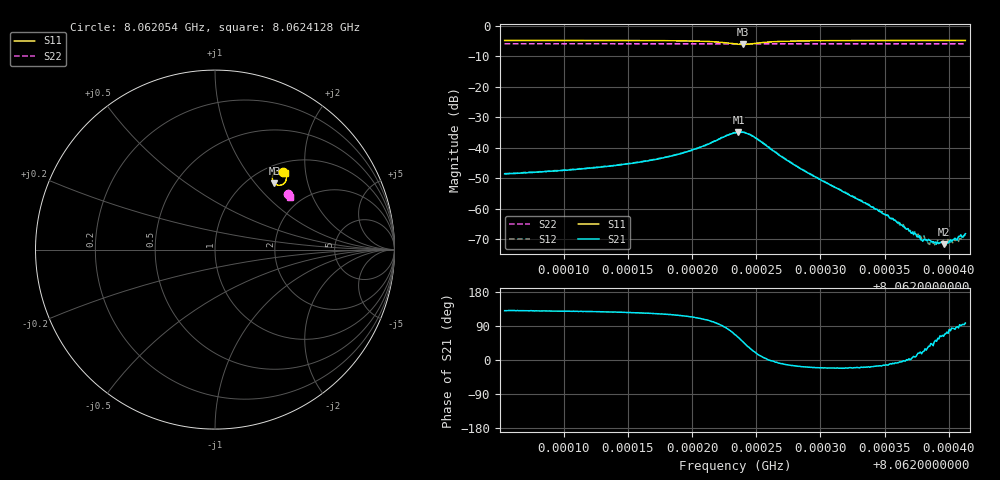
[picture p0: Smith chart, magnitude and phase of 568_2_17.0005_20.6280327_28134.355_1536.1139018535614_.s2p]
#  HZ  S  RI  R  50.00
! Rohde & Schwarz Vector Network Analyzer
! Rohde-Schwarz,ZNB20-2Port,1311601062101988,3.16
! Created: UTC 3/20/2024, 11:17:36 PM
! freq[Hz]  re:S11  im:S11  re:S21  im:S21  re:S12  im:S12  re:S22  im:S22
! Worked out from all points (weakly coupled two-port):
!   401 points, 8.062054 GHz to 8.0624128 GHz, reference 50 ohm
!   highest |S21| = -34.85 dB at 8.0622361 GHz (marker M1); lowest = -71.5 dB at 8.0623958 GHz (marker M2)
!   lowest |S11| = -6.1 dB at 8.0622397 GHz (marker M3), VSWR 2.97, Z = 64.6 + j63.3 ohm
!   |S11| at or under -10 dB: nowhere
!   |S22| runs from -5.9 to -5.9 dB; largest |S21 - S12| = 0.0012
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8.06205404e9  0.3806 0.4323  -0.00243 0.00286  -0.00229 0.00303  0.4046 0.3083
8.06211414e9  0.3862 0.4265  -0.00282 0.00355  -0.0026 0.00376  0.4067 0.3052
8.06215271e9  0.3908 0.4205  -0.00318 0.00454  -0.00295 0.00477  0.4082 0.3031
8.06217423e9  0.3938 0.4147  -0.00352 0.00565  -0.0032 0.00591  0.4089 0.3017
8.06220025e9  0.3975 0.4009  -0.00373 0.00858  -0.00314 0.00872  0.4098 0.2997
8.06222088e9  0.3902 0.3744  -0.00115 0.0139  -0.000341 0.014  0.4098 0.2979
8.06223343e9  0.3564 0.3583  0.00685 0.0162  0.00774 0.0161  0.4084 0.297
8.06223612e9  0.345 0.3606  0.00929 0.0155  0.0102 0.0151  0.408 0.297
8.06223971e9  0.3314 0.369  0.0121 0.0133  0.013 0.0127  0.4078 0.2975
8.06224779e9  0.3192 0.3997  0.0141 0.00605  0.0145 0.00531  0.4078 0.2987
8.062272e9  0.35 0.4359  0.00653 -0.00132  0.00651 -0.00172  0.4106 0.2986
8.06229353e9  0.3657 0.4363  0.00338 -0.00119  0.0033 -0.0014  0.4119 0.2974
8.06235363e9  0.3814 0.4301  0.000704 -0.000136  0.000732 -0.000238  0.4145 0.2941
8.06237785e9  0.3845 0.4281  0.000293 0.000113  0.000346 9.99e-05  0.4155 0.2928
8.06238143e9  0.3851 0.4277  0.000272 0.000154  0.000294 0.000119  0.4156 0.2925
8.06238323e9  0.3853 0.4277  0.000256 0.000154  0.000268 0.000105  0.4157 0.2924
8.0623904e9  0.3859 0.4271  0.000174 0.000202  0.00019 0.000202  0.4159 0.292
8.06239579e9  0.3866 0.4266  0.000122 0.000235  0.00017 0.000257  0.416 0.2919
8.06239758e9  0.3866 0.4265  0.000102 0.000271  0.000131 0.000212  0.4162 0.2917
8.06239937e9  0.3869 0.4264  9.31e-05 0.000259  0.000127 0.000296  0.4162 0.2915
8.06240834e9  0.3877 0.4257  -1.95e-05 0.000353  1.04e-05 0.000325  0.4165 0.291
8.06241283e9  0.3881 0.4254  -5.2e-05 0.00039  -4.15e-05 0.000369  0.4167 0.2909
